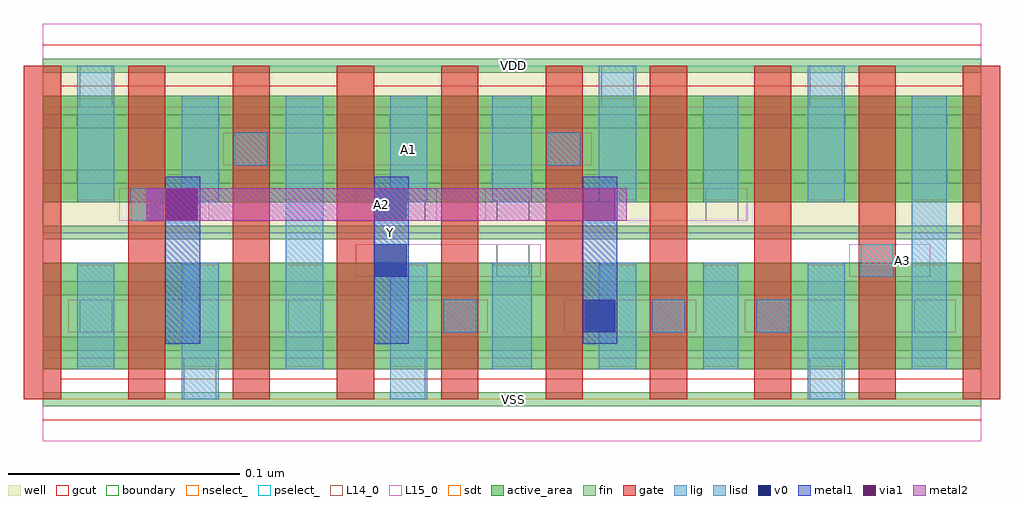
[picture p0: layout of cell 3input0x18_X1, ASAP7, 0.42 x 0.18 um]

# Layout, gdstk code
import gdstk
lib = gdstk.Library(unit=1e-6, precision=1e-09)
def R(c, l, rs):  # rectangles x0, y0, x1, y1
    for r in rs: c.add(gdstk.rectangle(r[:2], r[2:], *l))
def A(c, l, x, y, w, h, nx, ny, dx, dy):  # array of equal rectangles
    R(c, l, [(x+i*dx, y+j*dy, x+i*dx+w, y+j*dy+h) for i in range(nx) for j in range(ny)])
def P(c, l, *ps):  # polygons
    for p in ps: c.add(gdstk.Polygon(p, *l))
well = (1, 0)
fin = (2, 0)
gate = (7, 0)
gcut = (10, 0)
active_area = (11, 0)
nselect_ = (12, 0)
pselect_ = (13, 0)
L14_0 = (14, 0)
L15_0 = (15, 0)
lig = (16, 0)
lisd = (17, 0)
v0 = (18, 0)
metal1 = (19, 0)
metal2 = (20, 0)
via1 = (21, 0)
sdt = (88, 0)
boundary = (100, 0)

c_3input0x18_x1 = lib.new_cell('3input0x18_X1')
R(c_3input0x18_x1, well, [(0,0.072,0.405,0.144)])
A(c_3input0x18_x1, fin, 0, -0.003, 0.405, 0.006, 1, 7, 0, 0.024)
A(c_3input0x18_x1, gate, -0.008, 0, 0.016, 0.144, 10, 1, 0.045, 0)
P(c_3input0x18_x1, gcut, [(0,-0.009),(0,0),(-0.008,0),(-0.008,0.135),(0.008,0.135),(0.008,0.009),(0.127,0.009),(0.127,0.135),(0.143,0.135),(0.143,0.009),(0.397,0.009),(0.397,0.135),(-0.008,0.135),(-0.008,0.144),(0,0.144),(0,0.153),(0.405,0.153),(0.405,0.144),(0.413,0.144),(0.413,0),(0.405,0),(0.405,-0.009)])
R(c_3input0x18_x1, active_area, [(0,0.013,0.405,0.059), (0,0.085,0.405,0.131)])
R(c_3input0x18_x1, nselect_, [(0,0,0.405,0.072)])
R(c_3input0x18_x1, pselect_, [(0,0.072,0.405,0.144)])
R(c_3input0x18_x1, L14_0, [(0.061,0,0.075,0.018), (0.15,0,0.165,0.018), (0.331,0,0.345,0.018), (0.016,0.029,0.03,0.043), (0.106,0.029,0.12,0.043), (0.173,0.029,0.187,0.043), (0.263,0.029,0.277,0.043), (0.308,0.029,0.322,0.043), (0.376,0.029,0.39,0.043), (0.196,0.053,0.21,0.067), (0.353,0.053,0.367,0.067), (0.038,0.077,0.052,0.091), (0.15,0.077,0.165,0.091), (0.196,0.077,0.21,0.091), (0.286,0.077,0.3,0.091), (0.083,0.101,0.097,0.115), (0.218,0.101,0.232,0.115), (0.016,0.126,0.03,0.144), (0.241,0.126,0.255,0.144), (0.331,0.126,0.345,0.144)])
R(c_3input0x18_x1, L15_0, [(0,-0.018,0.405,0.018), (0.011,0.029,0.192,0.043), (0.225,0.029,0.282,0.043), (0.303,0.029,0.394,0.043), (0.135,0.053,0.215,0.067), (0.348,0.053,0.383,0.067), (0.033,0.077,0.072,0.091), (0.135,0.077,0.17,0.091), (0.191,0.077,0.304,0.091), (0.078,0.101,0.237,0.115), (0,0.126,0.405,0.162)])
R(c_3input0x18_x1, lig, [(0.173,0.029,0.187,0.043), (0.263,0.029,0.277,0.043), (0.308,0.029,0.322,0.043), (0.353,0.053,0.367,0.067), (0.038,0.077,0.052,0.091), (0.083,0.101,0.097,0.115), (0.218,0.101,0.232,0.115)])
R(c_3input0x18_x1, lisd, [(0.06,0,0.076,0.059), (0.15,0,0.166,0.059), (0.33,0,0.346,0.059), (0.015,0.013,0.031,0.059), (0.105,0.013,0.121,0.131), (0.194,0.013,0.211,0.059), (0.24,0.013,0.256,0.059), (0.285,0.013,0.3,0.059), (0.375,0.013,0.39,0.131), (0.015,0.085,0.031,0.144), (0.06,0.085,0.076,0.131), (0.15,0.085,0.166,0.131), (0.194,0.085,0.211,0.131), (0.24,0.085,0.256,0.144), (0.285,0.085,0.3,0.131), (0.33,0.085,0.346,0.144)])
R(c_3input0x18_x1, v0, [(0.233,0.029,0.247,0.043), (0.143,0.053,0.157,0.067), (0.053,0.077,0.067,0.091), (0.143,0.077,0.157,0.091)])
A(c_3input0x18_x1, metal1, 0.053, 0.024, 0.015, 0.072, 3, 1, 0.09, 0)
R(c_3input0x18_x1, metal2, [(0.045,0.077,0.252,0.091)])
R(c_3input0x18_x1, via1, [(0.053,0.077,0.067,0.091), (0.233,0.077,0.247,0.091)])
A(c_3input0x18_x1, sdt, 0.015, 0.014, 0.016, 0.044, 4, 2, 0.045, 0.072)
R(c_3input0x18_x1, sdt, [(0.194,0.014,0.211,0.058), (0.24,0.014,0.256,0.058), (0.285,0.014,0.3,0.058), (0.33,0.014,0.346,0.058), (0.375,0.014,0.39,0.058), (0.194,0.086,0.211,0.13), (0.24,0.086,0.256,0.13), (0.285,0.086,0.3,0.13), (0.33,0.086,0.346,0.13), (0.375,0.086,0.39,0.13)])
R(c_3input0x18_x1, boundary, [(0,0,0.405,0.144)])
c_3input0x18_x1.add(gdstk.Label('A1', (0.158,0.108), layer=15, texttype=251))
c_3input0x18_x1.add(gdstk.Label('VSS', (0.203,0), layer=15, texttype=251))
c_3input0x18_x1.add(gdstk.Label('VDD', (0.203,0.144), layer=15, texttype=251))
c_3input0x18_x1.add(gdstk.Label('VSS', (0.203,0), layer=15, texttype=251))
c_3input0x18_x1.add(gdstk.Label('VDD', (0.203,0.144), layer=15, texttype=251))
c_3input0x18_x1.add(gdstk.Label('VSS', (0.203,0), layer=15, texttype=251))
c_3input0x18_x1.add(gdstk.Label('VDD', (0.203,0.144), layer=15, texttype=251))
c_3input0x18_x1.add(gdstk.Label('A3', (0.371,0.06), layer=15, texttype=251))
c_3input0x18_x1.add(gdstk.Label('VSS', (0.203,0), layer=15, texttype=251))
c_3input0x18_x1.add(gdstk.Label('VDD', (0.203,0.144), layer=15, texttype=251))
c_3input0x18_x1.add(gdstk.Label('VSS', (0.203,0), layer=3, texttype=251))
c_3input0x18_x1.add(gdstk.Label('VSS', (0.203,0), layer=3, texttype=251))
c_3input0x18_x1.add(gdstk.Label('VSS', (0.203,0), layer=3, texttype=251))
c_3input0x18_x1.add(gdstk.Label('VSS', (0.203,0), layer=3, texttype=251))
c_3input0x18_x1.add(gdstk.Label('VDD', (0.203,0.144), layer=1, texttype=251))
c_3input0x18_x1.add(gdstk.Label('VDD', (0.203,0.144), layer=1, texttype=251))
c_3input0x18_x1.add(gdstk.Label('VDD', (0.203,0.144), layer=1, texttype=251))
c_3input0x18_x1.add(gdstk.Label('VDD', (0.203,0.144), layer=1, texttype=251))
c_3input0x18_x1.add(gdstk.Label('A2', (0.146,0.084), layer=20, texttype=251))
c_3input0x18_x1.add(gdstk.Label('Y', (0.15,0.072), layer=19, texttype=251))

lib.write_gds('3input0x18_X1.gds')
